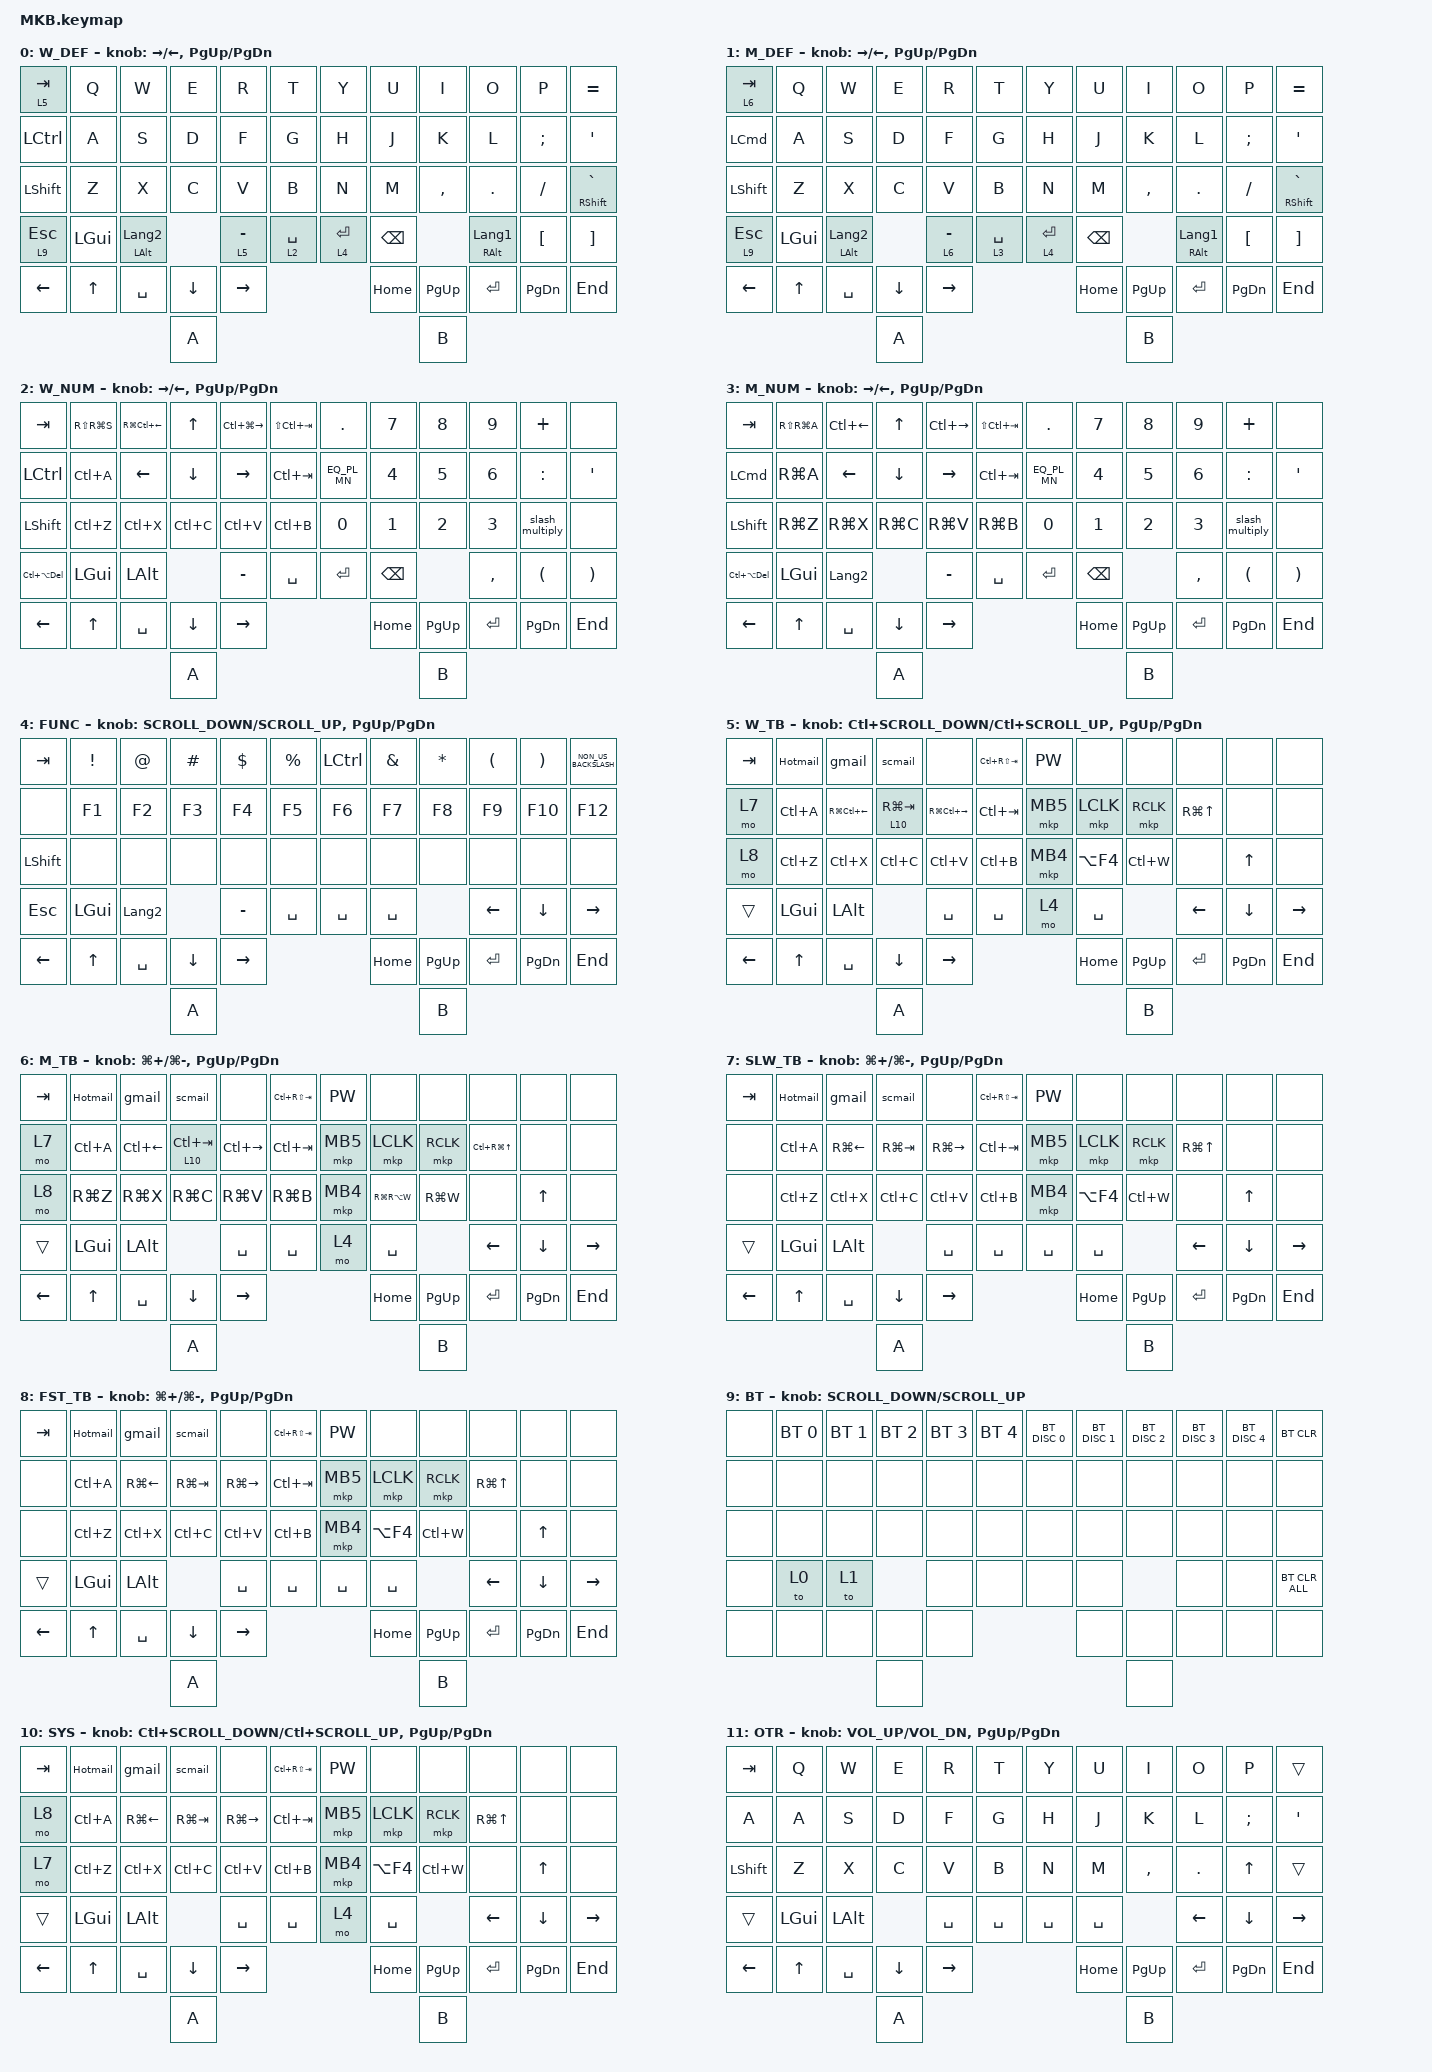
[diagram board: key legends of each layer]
// #include <layout_shift.dtsi>

#include <layout_shift_kp_override.dtsi>
#include <behaviors.dtsi>
#include <dt-bindings/zmk/bt.h>
#include <dt-bindings/zmk/keys.h>
#include <dt-bindings/zmk/pointing.h>

#define L_W_DEF    0
#define L_M_DEF    1
#define L_W_NUM    2
#define L_M_NUM    3
#define L_FUNC    4
#define L_W_TB    5
#define L_M_TB    6
#define L_SLW_TB    7
#define L_FST_TB    8
#define L_BT    9
#define L_SYS    10
#define L_OTR    11


&mt {
    flavor = "balanced";
    tapping-term-ms = <280>;
    quick-tap-ms = <175>;
    require-prior-idle-ms = <150>;
};

/ {
    macros {
        Hotmail: Hotmail {
            compatible = "zmk,behavior-macro";
            #binding-cells = <0>;
            bindings = <&none &kp K &kp A &kp Z &kp U &kp M &kp I &kp C &kp H &kp I &kp N7 &kp AT &kp H &kp O &kp T &kp M &kp A &kp I &kp L &kp DOT &kp C &kp O &kp M>;
            label = "HOTMAIL";
        };

        gmail: gmail {
            compatible = "zmk,behavior-macro";
            #binding-cells = <0>;
            bindings = <&none &kp K &kp A &kp Z &kp U &kp M &kp I &kp C &kp H &kp I &kp N0 &kp N4 &kp N2 &kp N3 &kp AT &kp G &kp M &kp A &kp I &kp L &kp DOT &kp C &kp O &kp M>;
            label = "GMAIL";
        };

        scmail: scmail {
            compatible = "zmk,behavior-macro";
            #binding-cells = <0>;
            bindings = <&none &kp K &kp A &kp Z &kp U &kp M &kp I &kp C &kp H &kp I &kp DOT &kp W &kp A &kp D &kp A &kp AT &kp S &kp U &kp M &kp I &kp T &kp O &kp M &kp O &kp C &kp O &kp R &kp P &kp DOT &kp C &kp O &kp M>;
            label = "SCMAIL";
        };

        PW: PW {
            compatible = "zmk,behavior-macro";
            #binding-cells = <0>;
            bindings = <&none &kp M &kp I &kp N &kp T &kp G &kp U &kp M &kp N1 &kp N9 &kp N8 &kp N4>;
            label = "PW";
        };
    };

    behaviors {
        EQ_PL_MN: EQ_PL_MN {
            compatible = "zmk,behavior-tap-dance";
            label = "EQ_PL_MN";
            #binding-cells = <0>;
            bindings = <&kp EQUAL>, <&kp PLUS>, <&kp MINUS>;
        };

        slash_multiply: slash_multiply {
            compatible = "zmk,behavior-tap-dance";
            label = "SLASH_MULTIPLY";
            #binding-cells = <0>;
            bindings = <&kp SLASH>, <&kp ASTERISK>;
        };
    };

    combos {
        compatible = "zmk,combos";

        escape {
            bindings = <&kp ESCAPE>;
            key-positions = <1 0>;
        };

        Lang2 {
            bindings = <&kp LANGUAGE_2>;
            key-positions = <15 39>;
        };

        Lang1 {
            bindings = <&kp LANGUAGE_1>;
            key-positions = <20 42>;
        };
    };

    keymap {
        compatible = "zmk,keymap";

        W_DEF {
            label = "W_DEF";
            bindings = <
&lt 5 TAB         &kp Q     &kp W                &kp E     &kp R        &kp T            &kp Y        &kp U          &kp I      &kp O                     &kp P             &kp EQUAL
&kp LEFT_CONTROL  &kp A     &kp S                &kp D     &kp F        &kp G            &kp H        &kp J          &kp K      &kp L                     &kp SEMI          &kp SQT
&kp LSHFT         &kp Z     &kp X                &kp C     &kp V        &kp B            &kp N        &kp M          &kp COMMA  &kp DOT                   &kp SLASH         &mt RIGHT_SHIFT GRAVE
&lt 9 ESC         &kp LGUI  &mt LALT LANGUAGE_2            &lt 5 MINUS  &lt 2 SPACE      &lt 4 ENTER  &kp BACKSPACE             &mt RIGHT_ALT LANGUAGE_1  &kp LEFT_BRACKET  &kp RIGHT_BRACKET
&kp LEFT          &kp UP    &kp SPACE            &kp DOWN  &kp RIGHT                                  &kp HOME       &kp PG_UP  &kp ENTER                 &kp PG_DN         &kp END
                                                 &kp A                                                               &kp B
            >;

            sensor-bindings =
                <&inc_dec_kp RIGHT LEFT>,
                <&inc_dec_kp PG_UP PG_DN>;
        };

        M_DEF {
            label = "M_DEF";
            bindings = <
&lt 6 TAB         &kp Q     &kp W                &kp E     &kp R        &kp T            &kp Y        &kp U          &kp I      &kp O                     &kp P             &kp EQUAL
&kp LEFT_COMMAND  &kp A     &kp S                &kp D     &kp F        &kp G            &kp H        &kp J          &kp K      &kp L                     &kp SEMI          &kp SQT
&kp LSHFT         &kp Z     &kp X                &kp C     &kp V        &kp B            &kp N        &kp M          &kp COMMA  &kp DOT                   &kp SLASH         &mt RIGHT_SHIFT GRAVE
&lt 9 ESCAPE      &kp LGUI  &mt LALT LANGUAGE_2            &lt 6 MINUS  &lt 3 SPACE      &lt 4 ENTER  &kp BACKSPACE             &mt RIGHT_ALT LANGUAGE_1  &kp LEFT_BRACKET  &kp RIGHT_BRACKET
&kp LEFT          &kp UP    &kp SPACE            &kp DOWN  &kp RIGHT                                  &kp HOME       &kp PG_UP  &kp ENTER                 &kp PG_DN         &kp END
                                                 &kp A                                                               &kp B
            >;

            sensor-bindings =
                <&inc_dec_kp RIGHT LEFT>,
                <&inc_dec_kp PG_UP PG_DN>;
        };

        W_NUM {
            label = "W_NUM";
            bindings = <
&kp TAB          &kp RS(RG(S))  &kp RG(LC(LEFT))  &kp UP_ARROW  &kp LC(LG(RIGHT))  &kp LS(LC(TAB))      &kp PERIOD    &kp N7         &kp NUMBER_8  &kp N9        &kp PLUS              &none
&kp LCTRL        &kp LC(A)      &kp LEFT          &kp DOWN      &kp RIGHT          &kp LC(TAB)          &EQ_PL_MN     &kp NUMBER_4   &kp N5        &kp NUMBER_6  &kp COLON             &kp SQT
&kp LSHFT        &kp LC(Z)      &kp LC(X)         &kp LC(C)     &kp LC(V)          &kp LC(B)            &kp NUMBER_0  &kp NUMBER_1   &kp NUMBER_2  &kp NUMBER_3  &slash_multiply       &none
&kp LC(LA(DEL))  &kp LGUI       &kp LALT                        &kp MINUS          &kp SPACE            &kp ENTER     &kp BACKSPACE                &kp COMMA     &kp LEFT_PARENTHESIS  &kp RIGHT_PARENTHESIS
&kp LEFT         &kp UP         &kp SPACE         &kp DOWN      &kp RIGHT                                             &kp HOME       &kp PG_UP     &kp ENTER     &kp PG_DN             &kp END
                                                  &kp A                                                                              &kp B
            >;

            sensor-bindings =
                <&inc_dec_kp RIGHT LEFT>,
                <&inc_dec_kp PG_UP PG_DN>;
        };

        M_NUM {
            label = "M_NUM";
            bindings = <
&kp TAB           &kp RS(RG(A))  &kp LC(LEFT)    &kp UP_ARROW  &kp LC(RIGHT)  &kp LS(LC(TAB))      &kp PERIOD    &kp N7         &kp NUMBER_8  &kp N9        &kp PLUS              &none
&kp LEFT_COMMAND  &kp RG(A)      &kp LEFT        &kp DOWN      &kp RIGHT      &kp LC(TAB)          &EQ_PL_MN     &kp NUMBER_4   &kp N5        &kp NUMBER_6  &kp COLON             &kp SQT
&kp LSHFT         &kp RG(Z)      &kp RG(X)       &kp RG(C)     &kp RG(V)      &kp RG(B)            &kp NUMBER_0  &kp NUMBER_1   &kp NUMBER_2  &kp NUMBER_3  &slash_multiply       &none
&kp LC(LA(DEL))   &kp LGUI       &kp LANGUAGE_2                &kp MINUS      &kp SPACE            &kp ENTER     &kp BACKSPACE                &kp COMMA     &kp LEFT_PARENTHESIS  &kp RIGHT_PARENTHESIS
&kp LEFT          &kp UP         &kp SPACE       &kp DOWN      &kp RIGHT                                         &kp HOME       &kp PG_UP     &kp ENTER     &kp PG_DN             &kp END
                                                 &kp A                                                                          &kp B
            >;

            sensor-bindings =
                <&inc_dec_kp RIGHT LEFT>,
                <&inc_dec_kp PG_UP PG_DN>;
        };

        FUNC {
            label = "FUNC";
            bindings = <
&kp TAB    &kp EXCLAMATION  &kp AT_SIGN     &kp HASH  &kp DOLLAR  &kp PERCENT      &kp LCTRL  &kp AMPERSAND  &kp ASTERISK  &kp LEFT_PARENTHESIS  &kp RIGHT_PARENTHESIS  &kp NON_US_BACKSLASH
&none      &kp F1           &kp F2          &kp F3    &kp F4      &kp F5           &kp F6     &kp F7         &kp F8        &kp F9                &kp F10                &kp F12
&kp LSHFT  &none            &none           &none     &none       &none            &none      &none          &none         &none                 &none                  &none
&kp ESC    &kp LGUI         &kp LANGUAGE_2            &kp MINUS   &kp SPACE        &kp SPACE  &kp SPACE                    &kp LEFT              &kp DOWN               &kp RIGHT
&kp LEFT   &kp UP           &kp SPACE       &kp DOWN  &kp RIGHT                               &kp HOME       &kp PG_UP     &kp ENTER             &kp PG_DN              &kp END
                                            &kp A                                                            &kp B
            >;

            sensor-bindings =
                <&inc_dec_kp K_SCROLL_DOWN K_SCROLL_UP>,
                <&inc_dec_kp PG_UP PG_DN>;
        };

        W_TB {
            label = "W_TB";
            bindings = <
&kp TAB   &Hotmail   &gmail            &scmail         &none              &kp LC(RS(TAB))      &PW       &none       &none      &none             &none      &none
&mo 7     &kp LC(A)  &kp RG(LC(LEFT))  &lt 10 RG(TAB)  &kp RG(LC(RIGHT))  &kp LC(TAB)          &mkp MB5  &mkp LCLK   &mkp RCLK  &kp RG(UP_ARROW)  &none      &none
&mo 8     &kp LC(Z)  &kp LC(X)         &kp LC(C)       &kp LC(V)          &kp LC(B)            &mkp MB4  &kp LA(F4)  &kp LC(W)  &none             &kp UP     &none
&trans    &kp LGUI   &kp LALT                          &kp SPACE          &kp SPACE            &mo 4     &kp SPACE              &kp LEFT          &kp DOWN   &kp RIGHT
&kp LEFT  &kp UP     &kp SPACE         &kp DOWN        &kp RIGHT                                         &kp HOME    &kp PG_UP  &kp ENTER         &kp PG_DN  &kp END
                                       &kp A                                                                         &kp B
            >;

            sensor-bindings =
                <&inc_dec_kp LC(K_SCROLL_DOWN) LC(K_SCROLL_UP)>,
                <&inc_dec_kp PG_UP PG_DN>;
        };

        M_TB {
            label = "M_TB";
            bindings = <
&kp TAB   &Hotmail   &gmail        &scmail         &none          &kp LC(RS(TAB))      &PW       &none          &none      &none                 &none      &none
&mo 7     &kp LC(A)  &kp LC(LEFT)  &lt 10 LC(TAB)  &kp LC(RIGHT)  &kp LC(TAB)          &mkp MB5  &mkp LCLK      &mkp RCLK  &kp LC(RG(UP_ARROW))  &none      &none
&mo 8     &kp RG(Z)  &kp RG(X)     &kp RG(C)       &kp RG(V)      &kp RG(B)            &mkp MB4  &kp RG(RA(W))  &kp RG(W)  &none                 &kp UP     &none
&trans    &kp LGUI   &kp LALT                      &kp SPACE      &kp SPACE            &mo 4     &kp SPACE                 &kp LEFT              &kp DOWN   &kp RIGHT
&kp LEFT  &kp UP     &kp SPACE     &kp DOWN        &kp RIGHT                                     &kp HOME       &kp PG_UP  &kp ENTER             &kp PG_DN  &kp END
                                   &kp A                                                                        &kp B
            >;

            sensor-bindings =
                <&inc_dec_kp LG(PLUS) LG(MINUS)>,
                <&inc_dec_kp PG_UP PG_DN>;
        };

        SLW_TB {
            label = "SLW_TB";
            bindings = <
&kp TAB   &Hotmail   &gmail        &scmail      &none          &kp LC(RS(TAB))      &PW        &none       &none      &none             &none      &none
&none     &kp LC(A)  &kp RG(LEFT)  &kp RG(TAB)  &kp RG(RIGHT)  &kp LC(TAB)          &mkp MB5   &mkp LCLK   &mkp RCLK  &kp RG(UP_ARROW)  &none      &none
&none     &kp LC(Z)  &kp LC(X)     &kp LC(C)    &kp LC(V)      &kp LC(B)            &mkp MB4   &kp LA(F4)  &kp LC(W)  &none             &kp UP     &none
&trans    &kp LGUI   &kp LALT                   &kp SPACE      &kp SPACE            &kp SPACE  &kp SPACE              &kp LEFT          &kp DOWN   &kp RIGHT
&kp LEFT  &kp UP     &kp SPACE     &kp DOWN     &kp RIGHT                                      &kp HOME    &kp PG_UP  &kp ENTER         &kp PG_DN  &kp END
                                   &kp A                                                                   &kp B
            >;

            sensor-bindings =
                <&inc_dec_kp LG(PLUS) LG(MINUS)>,
                <&inc_dec_kp PG_UP PG_DN>;
        };

        FST_TB {
            label = "FST_TB";
            bindings = <
&kp TAB   &Hotmail   &gmail        &scmail      &none          &kp LC(RS(TAB))      &PW        &none       &none      &none             &none      &none
&none     &kp LC(A)  &kp RG(LEFT)  &kp RG(TAB)  &kp RG(RIGHT)  &kp LC(TAB)          &mkp MB5   &mkp LCLK   &mkp RCLK  &kp RG(UP_ARROW)  &none      &none
&none     &kp LC(Z)  &kp LC(X)     &kp LC(C)    &kp LC(V)      &kp LC(B)            &mkp MB4   &kp LA(F4)  &kp LC(W)  &none             &kp UP     &none
&trans    &kp LGUI   &kp LALT                   &kp SPACE      &kp SPACE            &kp SPACE  &kp SPACE              &kp LEFT          &kp DOWN   &kp RIGHT
&kp LEFT  &kp UP     &kp SPACE     &kp DOWN     &kp RIGHT                                      &kp HOME    &kp PG_UP  &kp ENTER         &kp PG_DN  &kp END
                                   &kp A                                                                   &kp B
            >;

            sensor-bindings =
                <&inc_dec_kp LG(PLUS) LG(MINUS)>,
                <&inc_dec_kp PG_UP PG_DN>;
        };

        BT {
            bindings = <
&none  &bt BT_SEL 0  &bt BT_SEL 1  &bt BT_SEL 2  &bt BT_SEL 3  &bt BT_SEL 4      &bt BT_DISC 0  &bt BT_DISC 1  &bt BT_DISC 2  &bt BT_DISC 3  &bt BT_DISC 4  &bt BT_CLR
&none  &none         &none         &none         &none         &none             &none          &none          &none          &none          &none          &none
&none  &none         &none         &none         &none         &none             &none          &none          &none          &none          &none          &none
&none  &to 0         &to 1                       &none         &none             &none          &none                         &none          &none          &bt BT_CLR_ALL
&none  &none         &none         &none         &none                                          &none          &none          &none          &none          &none
                                   &none                                                                       &none
            >;

            label = "BT";
            sensor-bindings = <&inc_dec_kp K_SCROLL_DOWN K_SCROLL_UP>;
        };

        SYS {
            label = "SYS";
            bindings = <
&kp TAB   &Hotmail   &gmail        &scmail      &none          &kp LC(RS(TAB))      &PW       &none       &none      &none             &none      &none
&mo 8     &kp LC(A)  &kp RG(LEFT)  &kp RG(TAB)  &kp RG(RIGHT)  &kp LC(TAB)          &mkp MB5  &mkp LCLK   &mkp RCLK  &kp RG(UP_ARROW)  &none      &none
&mo 7     &kp LC(Z)  &kp LC(X)     &kp LC(C)    &kp LC(V)      &kp LC(B)            &mkp MB4  &kp LA(F4)  &kp LC(W)  &none             &kp UP     &none
&trans    &kp LGUI   &kp LALT                   &kp SPACE      &kp SPACE            &mo 4     &kp SPACE              &kp LEFT          &kp DOWN   &kp RIGHT
&kp LEFT  &kp UP     &kp SPACE     &kp DOWN     &kp RIGHT                                     &kp HOME    &kp PG_UP  &kp ENTER         &kp PG_DN  &kp END
                                   &kp A                                                                  &kp B
            >;

            sensor-bindings =
                <&inc_dec_kp LC(K_SCROLL_DOWN) LC(K_SCROLL_UP)>,
                <&inc_dec_kp PG_UP PG_DN>;
        };

        OTR {
            label = "OTR";
            bindings = <
&kp TAB    &kp Q     &kp W      &kp E     &kp R      &kp T          &kp Y      &kp U      &kp I      &kp O      &kp P      &trans
&kp A      &kp A     &kp S      &kp D     &kp F      &kp G          &kp H      &kp J      &kp K      &kp L      &kp SEMI   &kp SQT
&kp LSHFT  &kp Z     &kp X      &kp C     &kp V      &kp B          &kp N      &kp M      &kp COMMA  &kp DOT    &kp UP     &trans
&trans     &kp LGUI  &kp LALT             &kp SPACE  &kp SPACE      &kp SPACE  &kp SPACE             &kp LEFT   &kp DOWN   &kp RIGHT
&kp LEFT   &kp UP    &kp SPACE  &kp DOWN  &kp RIGHT                            &kp HOME   &kp PG_UP  &kp ENTER  &kp PG_DN  &kp END
                                &kp A                                                     &kp B
            >;

            sensor-bindings = <&inc_dec_kp C_VOL_UP C_VOL_DN &inc_dec_kp PG_UP PG_DN>;
        };
    };
};
